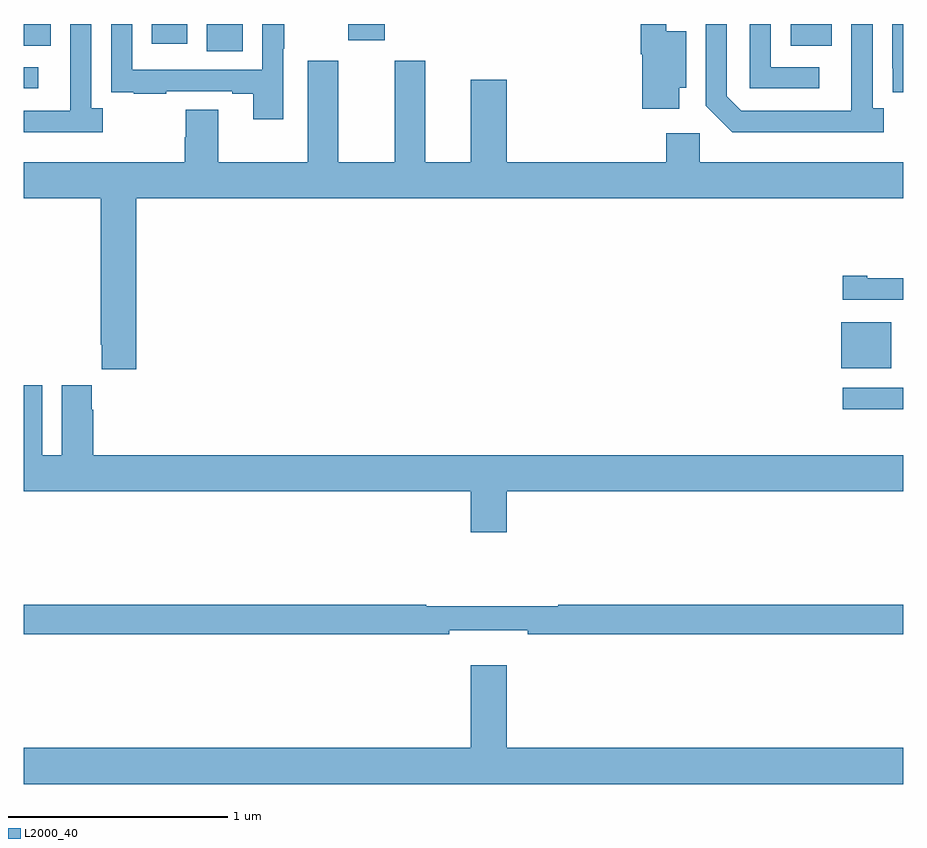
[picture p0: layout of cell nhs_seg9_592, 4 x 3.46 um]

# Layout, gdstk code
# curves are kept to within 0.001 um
import gdstk
lib = gdstk.Library(unit=1e-6, precision=1e-09)
def R(c, l, rs):  # rectangles x0, y0, x1, y1
    for r in rs: c.add(gdstk.rectangle(r[:2], r[2:], *l))
def P(c, l, *ps):  # polygons
    for p in ps: c.add(gdstk.Polygon(p, *l))
L2000_40 = (2000, 40)

nhs_seg9_592 = lib.new_cell('nhs_seg9_592')
R(nhs_seg9_592, L2000_40, [(142.725,1240.749,143,1240.845), (142.718,1240.934,142.945,1241.143), (139,1242.207,139.066,1242.303), (139.832,1242.376,139.996,1242.5), (139,1242.401,139.123,1242.5), (142.487,1242.401,142.675,1242.5), (139.583,1242.411,139.744,1242.5), (140.477,1242.426,140.641,1242.5)])
P(nhs_seg9_592, L2000_40, [(142.912,1242.118),(142.86,1242.118),(142.86,1242.5),(142.764,1242.5),(142.763,1242.105),(142.263,1242.105),(142.197,1242.171),(142.197,1242.5),(142.101,1242.5),(142.101,1242.129),(142.222,1242.008),(142.912,1242.008)],
  [(142.618,1242.303),(142.398,1242.303),(142.398,1242.5),(142.302,1242.5),(142.302,1242.207),(142.618,1242.207)],
  [(140.181,1242.388),(140.186,1242.388),(140.186,1242.5),(140.085,1242.5),(140.085,1242.291),(139.494,1242.291),(139.494,1242.5),(139.398,1242.5),(139.398,1242.298),(139.399,1242.298),(139.399,1242.189),(139.501,1242.189),(139.501,1242.183),(139.649,1242.183),(139.649,1242.195),(139.949,1242.195),(139.949,1242.183),(140.045,1242.183),(140.045,1242.066),(140.181,1242.066)],
  [(141.982,1242.209),(142.012,1242.209),(142.012,1242.466),(141.923,1242.466),(141.923,1242.5),(141.805,1242.5),(141.805,1242.362),(141.812,1242.362),(141.812,1242.114),(141.982,1242.114)],
  [(139.36,1242.118),(139.308,1242.118),(139.308,1242.5),(139.212,1242.5),(139.212,1242.305),(139.211,1242.305),(139.211,1242.105),(139,1242.105),(139,1242.008),(139.36,1242.008)],
  [(143,1242.5),(142.95,1242.5),(142.95,1242.298),(142.951,1242.298),(142.951,1242.189),(143,1242.189)],
  [(139.511,1241.708),(143,1241.708),(143,1241.872),(142.074,1241.872),(142.074,1242.004),(141.923,1242.004),(141.923,1241.872),(141.196,1241.872),(141.196,1242.247),(141.032,1242.247),(141.032,1241.872),(140.827,1241.872),(140.827,1242.334),(140.687,1242.334),(140.687,1241.872),(140.431,1241.872),(140.431,1242.334),(140.291,1242.334),(140.291,1241.872),(139.885,1241.872),(139.885,1242.11),(139.738,1242.11),(139.738,1241.985),(139.733,1241.985),(139.733,1241.872),(139,1241.872),(139,1241.708),(139.351,1241.708),(139.351,1241.041),(139.355,1241.041),(139.355,1240.929),(139.511,1240.929)],
  [(143,1241.343),(142.837,1241.343),(142.837,1241.356),(142.725,1241.356),(142.725,1241.247),(143,1241.247)],
  [(141.196,1240.376),(143,1240.376),(143,1240.54),(139.316,1240.54),(139.316,1240.745),(139.309,1240.745),(139.309,1240.858),(139.172,1240.858),(139.172,1240.54),(139.084,1240.54),(139.084,1240.858),(139,1240.858),(139,1240.376),(141.032,1240.376),(141.032,1240.188),(141.196,1240.188)],
  [(140.936,1239.743),(141.292,1239.743),(141.292,1239.724),(143,1239.724),(143,1239.86),(141.43,1239.86),(141.43,1239.853),(140.83,1239.853),(140.83,1239.86),(139,1239.86),(139,1239.724),(140.936,1239.724)],
  [(143,1239.208),(141.196,1239.208),(141.196,1239.583),(141.032,1239.583),(141.032,1239.208),(139,1239.208),(139,1239.044),(143,1239.044)])

lib.write_gds('nhs_seg9_592.gds')
